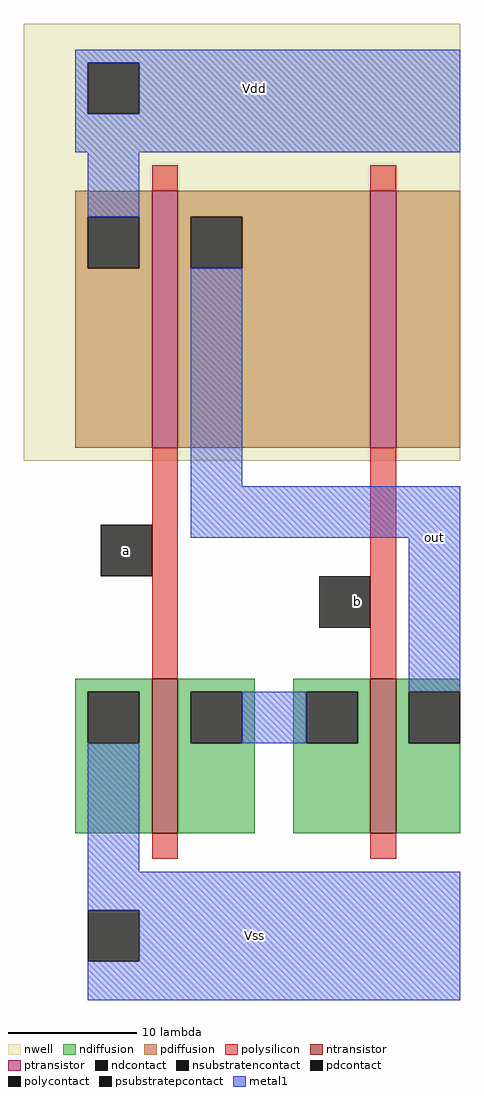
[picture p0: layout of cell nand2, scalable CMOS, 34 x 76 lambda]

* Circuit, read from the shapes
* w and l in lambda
.subckt nand2 Vdd Vss a b out
M1 n1 a Vss Vss nfet w=12 l=2
M2 out b n1 Vss nfet w=12 l=2
M3 out a Vdd Vdd pfet w=20 l=2
M4 n2 b out Vdd pfet w=20 l=2
.ends

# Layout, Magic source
magic
tech scmos
<< nwell >>
rect 0 42 34 76
<< polysilicon >>
rect 10 63 12 65
rect 27 63 29 65
rect 10 25 12 43
rect 27 25 29 43
rect 10 11 12 13
rect 27 11 29 13
<< ndiffusion >>
rect 4 24 10 25
rect 4 20 5 24
rect 9 20 10 24
rect 4 13 10 20
rect 12 24 18 25
rect 12 20 13 24
rect 17 20 18 24
rect 12 13 18 20
rect 21 24 27 25
rect 21 20 22 24
rect 26 20 27 24
rect 21 13 27 20
rect 29 24 34 25
rect 29 20 30 24
rect 29 13 34 20
<< pdiffusion >>
rect 4 61 10 63
rect 4 57 5 61
rect 9 57 10 61
rect 4 43 10 57
rect 12 61 27 63
rect 12 57 13 61
rect 17 57 27 61
rect 12 43 27 57
rect 29 43 34 63
<< metal1 >>
rect 4 73 34 74
rect 4 69 5 73
rect 9 69 34 73
rect 4 66 34 69
rect 5 61 9 66
rect 13 40 17 57
rect 13 36 34 40
rect 30 24 34 36
rect 17 20 22 24
rect 5 10 9 20
rect 5 7 34 10
rect 9 3 34 7
rect 5 0 34 3
<< ntransistor >>
rect 10 13 12 25
rect 27 13 29 25
<< ptransistor >>
rect 10 43 12 63
rect 27 43 29 63
<< polycontact >>
rect 6 33 10 37
rect 23 29 27 33
<< ndcontact >>
rect 5 20 9 24
rect 13 20 17 24
rect 22 20 26 24
rect 30 20 34 24
<< pdcontact >>
rect 5 57 9 61
rect 13 57 17 61
<< psubstratepcontact >>
rect 5 3 9 7
<< nsubstratencontact >>
rect 5 69 9 73
<< labels >>
rlabel polycontact 26 31 26 31 1 b
rlabel polycontact 8 35 8 35 3 a
rlabel metal1 18 71 18 71 5 Vdd
rlabel metal1 18 5 18 5 1 Vss
rlabel metal1 32 36 32 36 7 out
<< end >>
